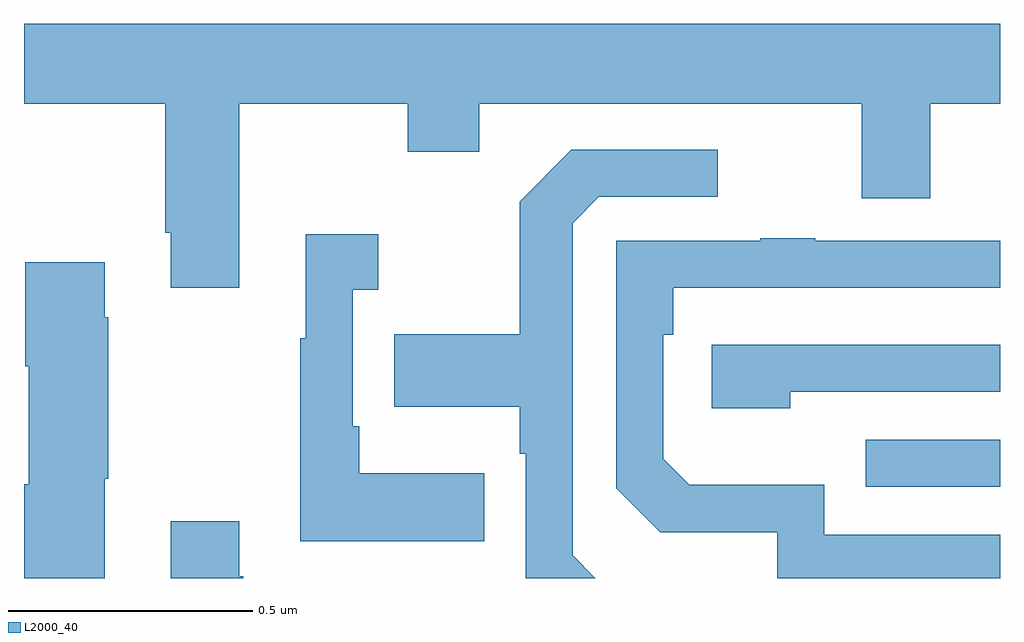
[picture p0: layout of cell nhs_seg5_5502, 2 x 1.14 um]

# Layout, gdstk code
import gdstk
lib = gdstk.Library(unit=1e-6, precision=1e-09)
def R(c, l, rs):  # rectangles x0, y0, x1, y1
    for r in rs: c.add(gdstk.rectangle(r[:2], r[2:], *l))
def P(c, l, *ps):  # polygons
    for p in ps: c.add(gdstk.Polygon(p, *l))
L2000_40 = (2000, 40)

nhs_seg5_5502 = lib.new_cell('nhs_seg5_5502')
R(nhs_seg5_5502, L2000_40, [(185.725,843.987,186,844.083)])
P(nhs_seg5_5502, L2000_40, [(184.441,844.772),(184.786,844.772),(184.786,844.673),(184.933,844.673),(184.933,844.772),(185.717,844.772),(185.717,844.578),(185.857,844.578),(185.857,844.772),(186,844.772),(186,844.936),(184,844.936),(184,844.772),(184.289,844.772),(184.289,844.507),(184.301,844.507),(184.301,844.395),(184.441,844.395)],
  [(185.124,843.846),(185.124,844.527),(185.178,844.581),(185.422,844.581),(185.422,844.677),(185.121,844.677),(185.016,844.571),(185.016,844.299),(184.759,844.299),(184.759,844.151),(185.016,844.151),(185.016,844.055),(185.028,844.055),(185.028,843.799),(185.171,843.799)],
  [(184.943,844.015),(184.687,844.015),(184.687,844.111),(184.674,844.111),(184.674,844.391),(184.726,844.391),(184.726,844.504),(184.577,844.504),(184.577,844.291),(184.566,844.291),(184.566,843.875),(184.943,843.875)],
  [(186,843.888),(185.64,843.888),(185.64,843.991),(185.363,843.991),(185.31,844.044),(185.31,844.298),(185.33,844.298),(185.33,844.395),(186,844.395),(186,844.491),(185.621,844.491),(185.621,844.496),(185.509,844.496),(185.509,844.491),(185.214,844.491),(185.214,843.984),(185.304,843.894),(185.544,843.894),(185.544,843.799),(186,843.799)],
  [(184.165,844.003),(184.173,844.003),(184.173,844.334),(184.165,844.334),(184.165,844.447),(184.003,844.447),(184.003,844.234),(184.01,844.234),(184.01,843.992),(184,843.992),(184,843.799),(184.165,843.799)],
  [(185.57,844.182),(186,844.182),(186,844.278),(185.409,844.278),(185.409,844.148),(185.57,844.148)],
  [(184.449,843.803),(184.441,843.803),(184.441,843.916),(184.301,843.916),(184.301,843.799),(184.449,843.799)])

lib.write_gds('nhs_seg5_5502.gds')
